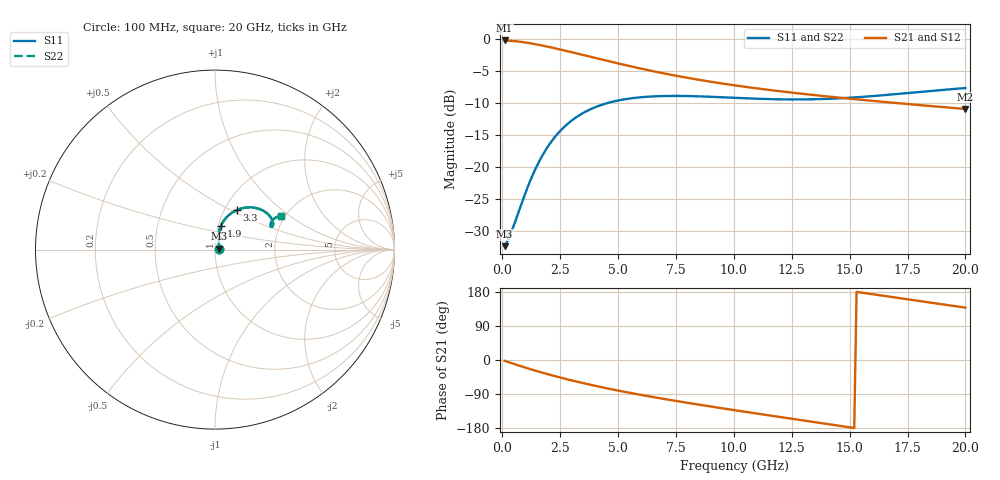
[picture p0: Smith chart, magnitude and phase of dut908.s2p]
! Touchstone file exported from HFSS 2024.1.0
!  File:  C:/UserFiles/LocalFiles/RDL_TSV_Batchsim/temp_RDL_TSV_908_1779955327.aedt
!  Generated:  04:15:58 PM May 28, 2026
!  Design:  RDL_TSV
!  Project:  temp_RDL_TSV_908_1779955327
!  Setup:  Setup1
!  Solution:  Sweep
! Variables:
!  dtsv = 12.68um
!  hbump = 3um
!  htsv = 68.27um
!  ldown = 614.78um
!  lrdl = 326.53um
!  p = 40
!  p1 = 59.72um
!  rhole = 10um
!  subl = 3150.46um
!  t = 450um
!  tdown = 2.87um
!  trdl = 3.6um
!  viad = 10um
!  wdown = 16.6um
!  wrdl = 12.95um
!  xbump = 18um
# GHz S MA R 50.000000
! Terminal data exported
! Port[1] = TM1_1_T1
! Port[2] = TM1_4_T1
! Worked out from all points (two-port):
!   200 points, 100 MHz to 20 GHz, reference 50 ohm
!   highest |S21| = -0.21 dB at 100 MHz (marker M1); lowest = -10.9 dB at 20 GHz (marker M2)
!   |S21| within 3 dB of the highest: start of sweep to 4.314 GHz
!   lowest |S11| = -32.4 dB at 100 MHz (marker M3), VSWR 1.05, Z = 52.4 + j0.584 ohm
!   |S11| at or under -10 dB: start of sweep to 4.548 GHz
!   |S22| runs from -32.4 to -7.7 dB; largest |S21 - S12| = 5e-14
!   S11 on the Smith chart (normalised r, x): 100 MHz: 1.05, +0.01; 1.9 GHz: 1.03, +0.28; 3.3 GHz: 1.14, +0.54; 20 GHz: 1.92, +0.86
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0.1  0.02398 13.4  0.9762 -2.1  0.9762 -2.1  0.02398 13.4
! Gamma 0 0 0 0
! Port Impedance 50 0 50 0
0.4  0.03132 43.1  0.9694 -8.3  0.9694 -8.3  0.03132 43.1
1  0.06256 72.2  0.9408 -20.1  0.9408 -20.1  0.06255 72.1
1.4  0.09371 77.1  0.9146 -27.6  0.9146 -27.6  0.09368 77.0
1.9  0.138 75.9  0.8773 -36.4  0.8773 -36.4  0.1379 75.9
2.2  0.165 73.4  0.8537 -41.4  0.8537 -41.4  0.1649 73.4
2.5  0.1911 70.3  0.8297 -46.2  0.8297 -46.2  0.191 70.3
2.9  0.2234 65.7  0.7977 -52.4  0.7977 -52.4  0.2233 65.7
3.3  0.2521 61.1  0.7662 -58.3  0.7662 -58.3  0.2519 61.0
3.5  0.2649 58.8  0.7508 -61.1  0.7508 -61.1  0.2647 58.7
4.2  0.302 51.2  0.6991 -70.6  0.6991 -70.6  0.3018 51.2
5.1  0.3337 42.9  0.6391 -81.9  0.6391 -81.9  0.3333 42.9
5.9  0.3497 36.9  0.5926 -91.1  0.5926 -91.1  0.3493 36.9
6.8  0.358 31.5  0.5474 -100.8  0.5474 -100.8  0.3575 31.5
8.3  0.3575 25.4  0.487 -116.0  0.487 -116.0  0.3569 25.4
10.1  0.3469 22.1  0.433 -133.1  0.433 -133.1  0.3462 22.1
11.7  0.3387 22.1  0.3967 -147.8  0.3967 -147.8  0.338 22.1
13.4  0.3381 23.8  0.366 -163.2  0.366 -163.2  0.3375 23.9
15  0.3478 26.0  0.3419 -177.6  0.3419 -177.6  0.3472 26.0
16.7  0.3671 27.5  0.3199 167.2  0.3199 167.2  0.3668 27.5
18.4  0.3914 27.7  0.3005 152.2  0.3005 152.2  0.3912 27.8
20  0.4141 26.8  0.2842 138.3  0.2842 138.3  0.414 26.9
